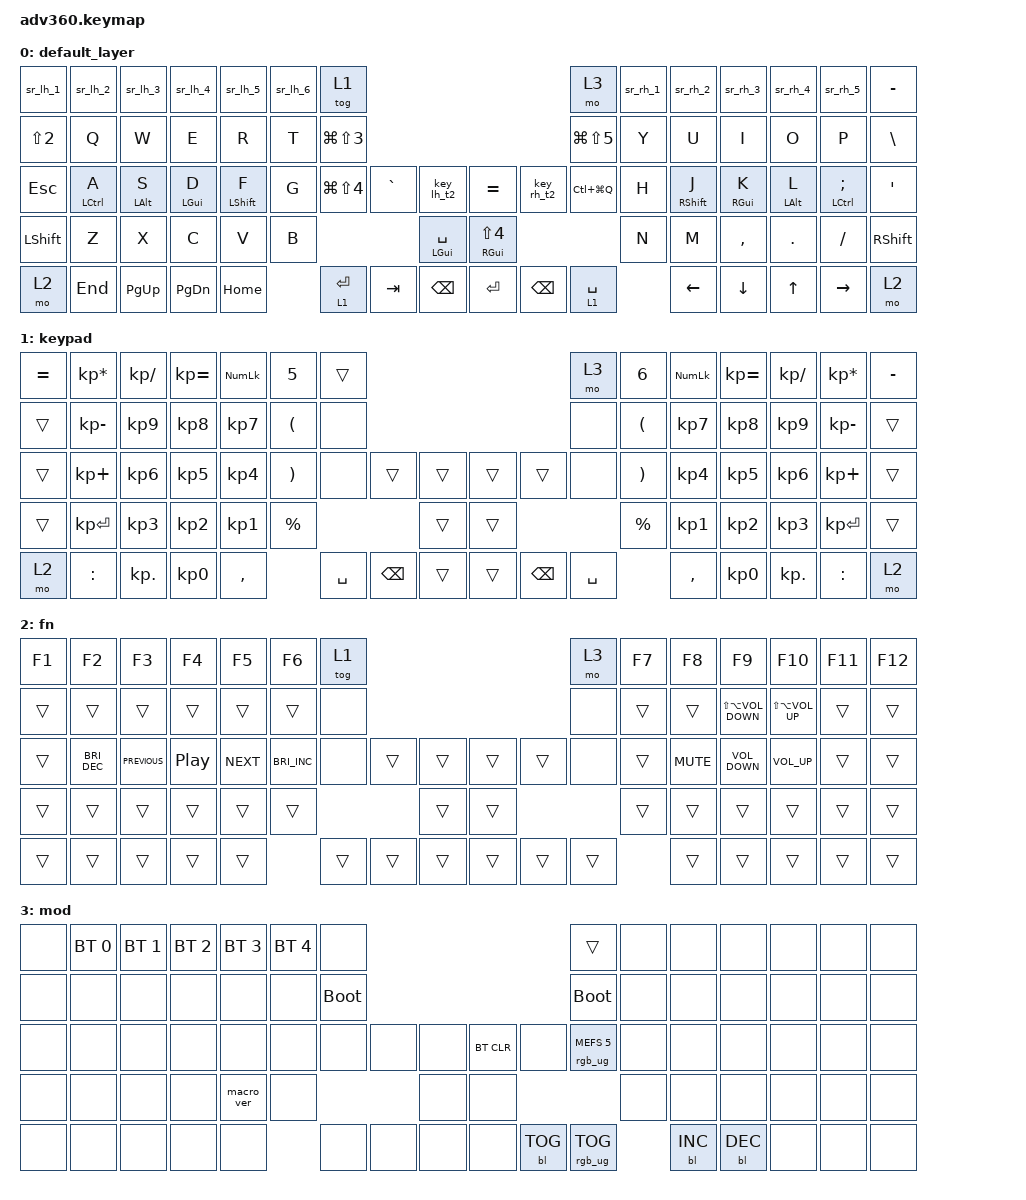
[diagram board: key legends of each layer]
#include <behaviors.dtsi>
#include <dt-bindings/zmk/backlight.h>
#include <dt-bindings/zmk/bt.h>
#include <dt-bindings/zmk/keys.h>
#include <dt-bindings/zmk/rgb.h>

&caps_word {
    continue-list = <
        UNDERSCORE MINUS KP_MINUS
        BACKSPACE DELETE
        LEFT_SHIFT RIGHT_SHIFT
        N1 N2 N3 N4 N5 N6 N7 N8 N9 N0
        KP_N1 KP_N2 KP_N3 KP_N4 KP_N5 KP_N6 KP_N7 KP_N8 KP_N9 KP_N0
    >;
};

/ {
    behaviors {
        #include "macros.dtsi"
        #include "version.dtsi"

        #ifndef VERSION_MACRO

        macro_ver: macro_ver {
            compatible = "zmk,behavior-macro";
            label = "macro_version";
            #binding-cells = <0>;
            bindings = <&kp RET>;
        };

        #endif

        hmr: home_row_mods_right {
            compatible = "zmk,behavior-hold-tap";
            label = "HOME_ROW_MODS_RIGHT";
            #binding-cells = <2>;
            bindings = <&kp>, <&kp>;

            tapping-term-ms = <200>;
            quick-tap-ms = <150>;
            hold-trigger-on-release;
            hold-trigger-key-positions = <0 1 2 3 4 5 6 14 15 16 17 18 19 20 28 29 30 31 32 33 34 35 36 37 38 46 47 48 49 50 51 52 53 60 61 62 63 64 65 66 67 68 69 70>;
            flavor = "balanced";
        };

        hml: home_row_mods_left {
            compatible = "zmk,behavior-hold-tap";
            label = "HOME_ROW_MODS_LEFT";
            bindings = <&kp>, <&kp>;

            #binding-cells = <2>;
            tapping-term-ms = <200>;
            quick-tap-ms = <150>;
            flavor = "balanced";
            hold-trigger-on-release;
            hold-trigger-key-positions = <12 13 21 22 23 24 25 26 27 37 38 39 40 41 42 43 44 45 53 54 55 56 57 58 59 68 69 70 71 72 73 74 75 7 8 9 10 11 36 52 65 66 67 35>;
        };

        sr_lh_1: sr_lh_1 {
            compatible = "zmk,behavior-mod-morph";
            label = "SYMBOL_ROW_LH_1";
            bindings = <&kp LS(TILDE)>, <&kp LS(EQUAL)>;

            #binding-cells = <0>;
            mods = <(MOD_LSFT|MOD_RSFT)>;
        };

        sr_lh_2: sr_lh_2 {
            compatible = "zmk,behavior-mod-morph";
            label = "SYMBOL_ROW_LH_2";
            bindings = <&kp N1>, <&kp LS(N1)>;

            #binding-cells = <0>;
            mods = <(MOD_LSFT|MOD_RSFT)>;
        };

        sr_lh_3: sr_lh_3 {
            compatible = "zmk,behavior-mod-morph";
            label = "SYMBOL_ROW_LH_3";
            bindings = <&kp N2>, <&kp LS(LEFT_BRACKET)>;

            #binding-cells = <0>;
            mods = <(MOD_LSFT|MOD_RSFT)>;
        };

        sr_lh_4: sr_lh_4 {
            compatible = "zmk,behavior-mod-morph";
            label = "SYMBOL_ROW_LH_4";
            bindings = <&kp N3>, <&kp LEFT_BRACKET>;

            #binding-cells = <0>;
            mods = <(MOD_LSFT|MOD_RSFT)>;
        };

        sr_lh_5: sr_lh_5 {
            compatible = "zmk,behavior-mod-morph";
            label = "SYMBOL_ROW_LH_5";
            bindings = <&kp N4>, <&kp LS(N9)>;

            #binding-cells = <0>;
            mods = <(MOD_LSFT|MOD_RSFT)>;
        };

        sr_lh_6: sr_lh_6 {
            compatible = "zmk,behavior-mod-morph";
            label = "SYMBOL_ROW_LH_6";
            bindings = <&kp N5>, <&kp LS(N5)>;

            #binding-cells = <0>;
            mods = <(MOD_LSFT|MOD_RSFT)>;
        };

        key_lh_t2: key_lh_t2 {
            compatible = "zmk,behavior-mod-morph";
            label = "KEY_LH_T2";
            bindings = <&kp LS(N3)>, <&kp LG(LS(N4))>;

            #binding-cells = <0>;
            mods = <(MOD_LSFT|MOD_RSFT)>;
        };

        sr_rh_1: sr_rh_1 {
            compatible = "zmk,behavior-mod-morph";
            label = "SYMBOL_ROW_RH_1";
            bindings = <&kp N6>, <&kp LS(N7)>;

            #binding-cells = <0>;
            mods = <(MOD_LSFT|MOD_RSFT)>;
        };

        sr_rh_2: sr_rh_2 {
            compatible = "zmk,behavior-mod-morph";
            label = "SYMBOL_ROW_RH_2";
            bindings = <&kp N7>, <&kp LS(N0)>;

            #binding-cells = <0>;
            mods = <(MOD_LSFT|MOD_RSFT)>;
        };

        sr_rh_3: sr_rh_3 {
            compatible = "zmk,behavior-mod-morph";
            label = "SYMBOL_ROW_RH_3";
            bindings = <&kp N8>, <&kp RIGHT_BRACKET>;

            #binding-cells = <0>;
            mods = <(MOD_LSFT|MOD_RSFT)>;
        };

        sr_rh_4: sr_rh_4 {
            compatible = "zmk,behavior-mod-morph";
            label = "SYMBOL_ROW_RH_4";
            bindings = <&kp N9>, <&kp LS(RIGHT_BRACKET)>;

            #binding-cells = <0>;
            mods = <(MOD_LSFT|MOD_RSFT)>;
        };

        sr_rh_5: sr_rh_5 {
            compatible = "zmk,behavior-mod-morph";
            label = "SYMBOL_ROW_RH_5";
            bindings = <&kp N0>, <&kp LS(N8)>;

            #binding-cells = <0>;
            mods = <(MOD_LSFT|MOD_RSFT)>;
        };

        key_rh_t2: key_rh_t2 {
            compatible = "zmk,behavior-mod-morph";
            label = "KEY_RH_T2";
            bindings = <&kp LS(N6)>, <&kp LG(LS(N5))>;

            #binding-cells = <0>;
            mods = <(MOD_LSFT|MOD_RSFT)>;
        };
    };

    macros {
    };

    combos {
        compatible = "zmk,combos";

        combo_caps_word {
            bindings = <&caps_word>;
            key-positions = <32 41>;
        };

        combo_copy {
            bindings = <&kp LG(C)>;
            key-positions = <48 49>;
        };

        combo_paste {
            bindings = <&kp LG(V)>;
            key-positions = <49 50>;
        };

        combo_cut {
            bindings = <&kp LG(X)>;
            key-positions = <47 48>;
        };

        combo_select_all {
            bindings = <&kp LG(A)>;
            key-positions = <47 50>;
        };

        combo_undo {
            bindings = <&kp LG(Z)>;
            key-positions = <48 50>;
        };

        combo_redo {
            bindings = <&kp LS(LG(Z))>;
            key-positions = <47 49>;
        };
    };

    keymap {
        compatible = "zmk,keymap";

        default_layer {
            bindings = <
&sr_lh_1    &sr_lh_2             &sr_lh_3         &sr_lh_4         &sr_lh_5           &sr_lh_6  &tog 1                                                                                          &mo 3           &sr_rh_1  &sr_rh_2            &sr_rh_3          &sr_rh_4         &sr_rh_5                &kp MINUS
&kp LS(N2)  &kp Q                &kp W            &kp E            &kp R              &kp T     &kp LG(LS(N3))                                                                                  &kp LG(LS(N5))  &kp Y     &kp U               &kp I             &kp O            &kp P                   &kp BSLH
&kp ESCAPE  &hml LEFT_CONTROL A  &hml LEFT_ALT S  &hml LEFT_GUI D  &hml LEFT_SHIFT F  &kp G     &kp LG(LS(N4))  &kp GRAVE  &key_lh_t2               &kp EQUAL                    &key_rh_t2     &kp LC(LG(Q))   &kp H     &hmr RIGHT_SHIFT J  &hmr RIGHT_GUI K  &hmr LEFT_ALT L  &hmr LEFT_CONTROL SEMI  &kp SQT
&kp LSHFT   &kp Z                &kp X            &kp C            &kp V              &kp B                                &hml LEFT_GUI SPACE      &hmr RIGHT_GUI LS(NUMBER_4)                                 &kp N     &kp M               &kp COMMA         &kp DOT          &kp FSLH                &kp RSHFT
&mo 2       &kp END              &kp PAGE_UP      &kp PAGE_DOWN    &kp HOME                     &lt 1 RETURN    &kp TAB    &kp BACKSPACE            &kp RETURN                   &kp BACKSPACE  &lt 1 SPACE               &kp LEFT            &kp DOWN          &kp UP           &kp RIGHT               &mo 2
            >;
        };

        keypad {
            bindings = <
&kp EQUAL  &kp KP_MULTIPLY  &kp KP_SLASH     &kp KP_EQUAL  &kp KP_NUM  &kp N5                 &trans                                                       &mo 3      &kp N6                 &kp KP_NUM  &kp KP_EQUAL  &kp KP_DIVIDE  &kp KP_MULTIPLY  &kp MINUS
&trans     &kp KP_MINUS     &kp KP_NUMBER_9  &kp KP_N8     &kp KP_N7   &kp LEFT_PARENTHESIS   &none                                                        &none      &kp LEFT_PARENTHESIS   &kp KP_N7   &kp KP_N8     &kp KP_N9      &kp KP_MINUS     &trans
&trans     &kp KP_PLUS      &kp KP_N6        &kp KP_N5     &kp KP_N4   &kp RIGHT_PARENTHESIS  &none      &trans         &trans      &trans  &trans         &none      &kp RIGHT_PARENTHESIS  &kp KP_N4   &kp KP_N5     &kp KP_N6      &kp KP_PLUS      &trans
&trans     &kp KP_ENTER     &kp KP_N3        &kp KP_N2     &kp KP_N1   &kp PERCENT                                      &trans      &trans                            &kp PERCENT            &kp KP_N1   &kp KP_N2     &kp KP_N3      &kp KP_ENTER     &trans
&mo 2      &kp COLON        &kp KP_DOT       &kp KP_N0     &kp COMMA                          &kp SPACE  &kp BACKSPACE  &trans      &trans  &kp BACKSPACE  &kp SPACE                         &kp COMMA   &kp KP_N0     &kp KP_DOT     &kp COLON        &mo 2
            >;
        };

        fn {
            bindings = <
&kp F1  &kp F2                &kp F3          &kp F4            &kp F5      &kp F6                &tog 1                                      &mo 3   &kp F7  &kp F8      &kp F9                     &kp F10                  &kp F11  &kp F12
&trans  &trans                &trans          &trans            &trans      &trans                &none                                       &none   &trans  &trans      &kp LS(LA(C_VOLUME_DOWN))  &kp LS(LA(C_VOLUME_UP))  &trans   &trans
&trans  &kp C_BRIGHTNESS_DEC  &kp C_PREVIOUS  &kp C_PLAY_PAUSE  &kp C_NEXT  &kp C_BRIGHTNESS_INC  &none   &trans  &trans      &trans  &trans  &none   &trans  &kp C_MUTE  &kp C_VOLUME_DOWN          &kp C_VOLUME_UP          &trans   &trans
&trans  &trans                &trans          &trans            &trans      &trans                                &trans      &trans                  &trans  &trans      &trans                     &trans                   &trans   &trans
&trans  &trans                &trans          &trans            &trans                            &trans  &trans  &trans      &trans  &trans  &trans          &trans      &trans                     &trans                   &trans   &trans
            >;
        };

        mod {
            bindings = <
&none  &bt BT_SEL 0  &bt BT_SEL 1  &bt BT_SEL 2  &bt BT_SEL 3  &bt BT_SEL 4  &none                                                  &trans                  &none  &none       &none       &none  &none  &none
&none  &none         &none         &none         &none         &none         &bootloader                                            &bootloader             &none  &none       &none       &none  &none  &none
&none  &none         &none         &none         &none         &none         &none        &none  &none      &bt BT_CLR  &none       &rgb_ug RGB_MEFS_CMD 5  &none  &none       &none       &none  &none  &none
&none  &none         &none         &none         &macro_ver    &none                             &none      &none                                           &none  &none       &none       &none  &none  &none
&none  &none         &none         &none         &none                       &none        &none  &none      &none       &bl BL_TOG  &rgb_ug RGB_TOG                &bl BL_INC  &bl BL_DEC  &none  &none  &none
            >;
        };
    };
};
